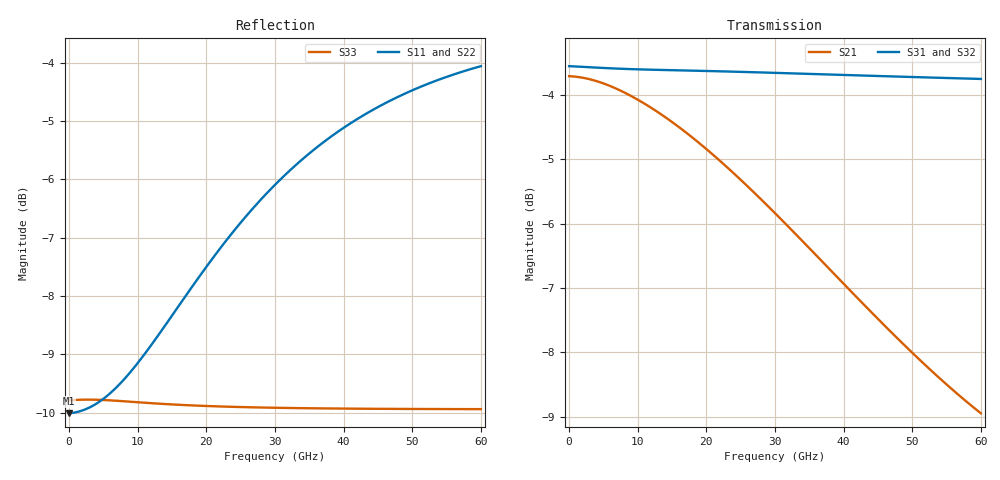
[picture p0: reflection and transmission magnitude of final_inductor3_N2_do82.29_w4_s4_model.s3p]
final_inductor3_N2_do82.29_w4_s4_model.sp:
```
* WIDEBAND RFIC CENTER-TAPPED INDUCTOR MODEL WITH SUBSTRATE NETWORK
* Created using inductor_fit.py from final_inductor3_N2_do82.29_w4_s4.s3p
* Fit band 0.010 to 60.000 GHz, 2 coil segment(s) per half coil
* k is the effective coupling including the center tap lead inductance
* Total element values:
*   Rs_h1 = 0.719718
*   Ls_h1 = 1.51808e-10
*   Rskin1_h1 = 0.713249
*   Lskin1_h1 = 1.09128e-11
*   Rskin2_h1 = 6.10196
*   Lskin2_h1 = 1.00813e-11
*   Rs_h2 = 0.998336
*   Ls_h2 = 1.51808e-10
*   Rskin1_h2 = 1.08414
*   Lskin1_h2 = 1.09128e-11
*   Rskin2_h2 = 9.42995
*   Lskin2_h2 = 1.00813e-11
*   k = 0.411631
*   Cs = 4.84257e-15
*   Rct = 0.0956473
*   Cox1 = 6.48035e-15
*   Rsi1 = 526.721
*   Csi1 = 5.57751e-14
*   Cox2 = 7.18597e-15
*   Rsi2 = 562.284
*   Csi2 = 5.37876e-14
*   Coxct = 1.90461e-14
*   Rsict = 8348.82
*   Csict = 2.92584e-15
*
.SUBCKT ct_inductor_model p1 p2 ct
* half coil 1, segment 1
Rs_h1_1 p1 a_h1_1 0.359859
Ls_h1_1 a_h1_1 b_h1_1 7.59041e-11
Rskin1_h1_1 b_h1_1 d_h1_1 0.356625
Lskin1_h1_1 b_h1_1 d_h1_1 5.45641e-12
Rskin2_h1_1 d_h1_1 c1 3.05098
Lskin2_h1_1 d_h1_1 c1 5.04066e-12
* half coil 1, segment 2
Rs_h1_2 c1 a_h1_2 0.359859
Ls_h1_2 a_h1_2 b_h1_2 7.59041e-11
Rskin1_h1_2 b_h1_2 d_h1_2 0.356625
Lskin1_h1_2 b_h1_2 d_h1_2 5.45641e-12
Rskin2_h1_2 d_h1_2 m 3.05098
Lskin2_h1_2 d_h1_2 m 5.04066e-12
* half coil 2, segment 1
Rs_h2_1 m a_h2_1 0.499168
Ls_h2_1 a_h2_1 b_h2_1 7.59041e-11
Rskin1_h2_1 b_h2_1 d_h2_1 0.542072
Lskin1_h2_1 b_h2_1 d_h2_1 5.45641e-12
Rskin2_h2_1 d_h2_1 c3 4.71498
Lskin2_h2_1 d_h2_1 c3 5.04066e-12
* half coil 2, segment 2
Rs_h2_2 c3 a_h2_2 0.499168
Ls_h2_2 a_h2_2 b_h2_2 7.59041e-11
Rskin1_h2_2 b_h2_2 d_h2_2 0.542072
Lskin1_h2_2 b_h2_2 d_h2_2 5.45641e-12
Rskin2_h2_2 d_h2_2 p2 4.71498
Lskin2_h2_2 d_h2_2 p2 5.04066e-12
* magnetic coupling of the half coils (dot at the first node, aiding for differential current)
K_h1_1_h2_1 Ls_h1_1 Ls_h2_1 0.205816
K_h1_1_h2_2 Ls_h1_1 Ls_h2_2 0.205816
K_h1_2_h2_1 Ls_h1_2 Ls_h2_1 0.205816
K_h1_2_h2_2 Ls_h1_2 Ls_h2_2 0.205816
Cs p1 p2 4.84257e-15
Rct m ct 0.0956473
* substrate network at p1
Cox_n0 p1 s0 3.24017e-15
Rsi_n0 s0 0 1053.44
Csi_n0 s0 0 2.78876e-14
* substrate network at c1
Cox_n1 c1 s1 8.0017e-15
Rsi_n1 s1 0 1021.23
Csi_n1 s1 0 2.8619e-14
* substrate network at m
Cox_n2 m s2 9.52305e-15
Rsi_n2 s2 0 16697.6
Csi_n2 s2 0 1.46292e-15
* substrate network at c3
Cox_n3 c3 s3 8.35451e-15
Rsi_n3 s3 0 1087.93
Csi_n3 s3 0 2.76252e-14
* substrate network at p2
Cox_n4 p2 s4 3.59299e-15
Rsi_n4 s4 0 1124.57
Csi_n4 s4 0 2.68938e-14
.ENDS
```
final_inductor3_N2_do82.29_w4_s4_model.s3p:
!Center-tapped inductor model fitted by inductor_fit.py 1.2 from final_inductor3_N2_do82.29_w4_s4.s3p
! Created with skrf 2.1.0 (http://scikit-rf.org).
# GHz S RI R 50.0
!freq ReS11 ImS11 ReS12 ImS12 ReS13 ImS13
! ReS21 ImS21 ReS22 ImS22 ReS23 ImS23
! ReS31 ImS31 ReS32 ImS32 ReS33 ImS33
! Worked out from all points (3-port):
!   82 points, 10 MHz to 60 GHz, reference 50 ohm
!   strongest paths, dB at 10 MHz, 14.25 GHz, 30 GHz, 45 GHz, 60 GHz:
!     S31: -3.6, -3.6, -3.7, -3.7, -3.8
!     S32: -3.6, -3.7, -3.7, -3.7, -3.8
!     S21: -3.7, -4.4, -5.8, -7.5, -8.9
!   lowest |S11| = -10.0 dB at 10 MHz (marker M1), VSWR 1.92, Z = 26 + j0.0161 ohm
!   |S11| at or under -10 dB: start of sweep to 557.7 MHz
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0.01  -0.3159 0.000279  0.6521 -0.000293  0.6638 -5.38e-05
      0.6521 -0.000293  -0.3123 0.000277  0.6602 -5.26e-05
      0.6638 -5.38e-05  0.6602 -5.26e-05  -0.3241 3.77e-05
13.5  -0.1778 0.3268  0.5135 -0.3268  0.6569 -0.0571
      0.5135 -0.3268  -0.1735 0.3273  0.6535 -0.0582
      0.6569 -0.0571  0.6535 -0.0582  -0.3167 0.0575
25.5  0.0589 0.4601  0.2794 -0.4607  0.6486 -0.1049
      0.2794 -0.4607  0.0652 0.4583  0.6446 -0.1056
      0.6486 -0.1049  0.6446 -0.1056  -0.3029 0.1027
39.75  0.3251 0.4479  0.0181 -0.4511  0.6338 -0.1595
       0.0181 -0.4511  0.3316 0.4431  0.6304 -0.1607
       0.6338 -0.1595  0.6304 -0.1607  -0.2804 0.1519
60  0.5618 0.2771  -0.2108 -0.2882  0.6057 -0.2327
    -0.2108 -0.2882  0.568 0.2682  0.6014 -0.2358
    0.6057 -0.2327  0.6014 -0.2358  -0.2378 0.2119
